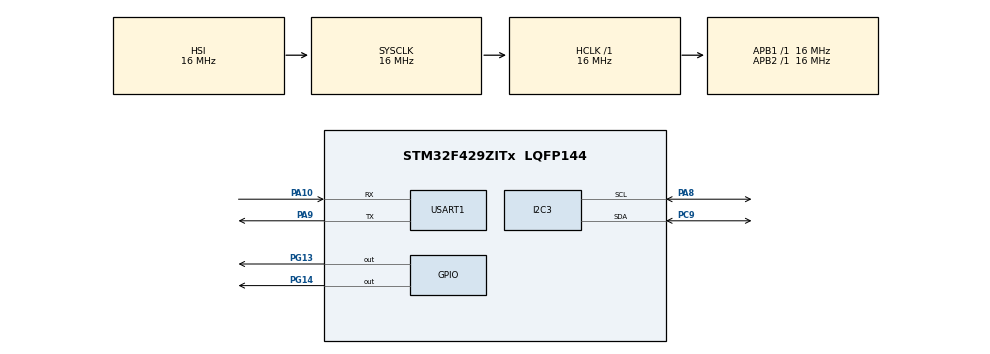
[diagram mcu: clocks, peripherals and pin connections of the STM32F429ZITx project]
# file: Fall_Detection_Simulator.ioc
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FREERTOS.Tasks01=defaultTask,0,128,StartDefaultTask,Default,NULL,Dynamic,NULL,NULL
FREERTOS.Timers01=myTimer01,Callback01,osTimerPeriodic,Default,NULL,Dynamic,NULL
FREERTOS.configUSE_NEWLIB_REENTRANT=1
FREERTOS.configUSE_TIMERS=1
Mcu.Family=STM32F4
Mcu.Name=STM32F429ZITx
Mcu.Package=LQFP144
NVIC.PriorityGroup=NVIC_PRIORITYGROUP_4
NVIC.USART1_IRQn=true\:5\:0\:false\:false\:true\:true\:true\:true\:true
PA10.Mode=Asynchronous
PA10.Signal=USART1_RX
PA8.Mode=I2C
PA8.Signal=I2C3_SCL
PA9.Mode=Asynchronous
PA9.Signal=USART1_TX
PC9.Mode=I2C
PC9.Signal=I2C3_SDA
PG13.Signal=GPIO_Output
PG14.Signal=GPIO_Output
ProjectManager.HeapSize=0x200
ProjectManager.StackSize=0x400
ProjectManager.TargetToolchain=STM32CubeIDE
RCC.AHBFreq_Value=16000000
RCC.APB1Freq_Value=16000000
RCC.APB2Freq_Value=16000000
RCC.CortexFreq_Value=16000000
RCC.HSE_VALUE=25000000
RCC.HSI_VALUE=16000000
RCC.LSE_VALUE=32768
RCC.SYSCLKFreq_VALUE=16000000
RCC.VCOOutputFreq_Value=192000000
USART1.VirtualMode=VM_ASYNC
VP_FREERTOS_VS_CMSIS_V1.Mode=CMSIS_V1
board=custom

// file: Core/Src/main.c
/* USER CODE BEGIN Header */
/**
  ******************************************************************************
  * @file           : main.c
  * @brief          : Main program body
  ******************************************************************************
  * @attention
  *
  * Copyright (c) 2026 STMicroelectronics.
  * All rights reserved.
  *
  * This software is licensed under terms that can be found in the LICENSE file
  * in the root directory of this software component.
  * If no LICENSE file comes with this software, it is provided AS-IS.
  *
  ******************************************************************************
  */
/* USER CODE END Header */
#include "main.h"
#include "cmsis_os.h"

/* USER CODE BEGIN Includes */
#include <stdio.h>
#include <string.h>
#include <math.h>
/* USER CODE END Includes */

/* USER CODE BEGIN PM */
#define ACCEL_SCALE 16384.0  // Correct for MPU6050 +/- 2g range
#define THRESHOLD   1.2      // 2.5g (standard impact threshold)
#define TILT_ANGLE  40 // Original 60
/* USER CODE END PM */

I2C_HandleTypeDef hi2c3;

UART_HandleTypeDef huart1;

osThreadId defaultTaskHandle;
osTimerId myTimer01Handle;

void SystemClock_Config(void);
static void MX_GPIO_Init(void);
static void MX_I2C3_Init(void);
static void MX_USART1_UART_Init(void);
void StartDefaultTask(void const * argument);
void Callback01(void const * argument);

/* USER CODE BEGIN PFP */
/*================ TASK PROTOTYPES ==================*/
void Task1(void *arg);
void Task2(void *arg);
void Task3(void *arg);
void Timer_Task1(TimerHandle_t xTimer);

/*================ MPU PROTOTYPES ==================*/
void MPU6050_Init(void);
void MPU6050_Read(void);
#define MPU6050_ADDR (0x68 << 1)
uint8_t data[14];
int16_t g_Ax, g_Ay, g_Az,Gx,Gy,Gz;
char uart_buf[100];

/* =============== PRINTF ============================*/
//To use printf()
int _write(int file, char *ptr, int len) {
	HAL_UART_Transmit(&huart1, (uint8_t*) ptr, (uint16_t) len, HAL_MAX_DELAY);
	return len;
}

/* =============== HANDLES ============================*/
TimerHandle_t TimerHandle1;
TaskHandle_t Task1_Handle, Task2_Handle, Task3_Handle;
QueueHandle_t alertQueue;
/* USER CODE END PFP */

/* USER CODE BEGIN 0 */
void MPU6050_Init(void)
{
  uint8_t check;
  uint8_t data;

  // Check WHO_AM_I
  HAL_I2C_Mem_Read(&hi2c3, MPU6050_ADDR, 0x75, 1, &check, 1, HAL_MAX_DELAY);

  // Wake up MPU6050
  data = 0;
  HAL_I2C_Mem_Write(&hi2c3, MPU6050_ADDR, 0x6B, 1, &data, 1, HAL_MAX_DELAY);

  // Set accel ±2g
  data = 0x00;
  HAL_I2C_Mem_Write(&hi2c3, MPU6050_ADDR, 0x1C, 1, &data, 1, HAL_MAX_DELAY);

  // Set gyro ±250 dps
  data = 0x00;
  HAL_I2C_Mem_Write(&hi2c3, MPU6050_ADDR, 0x1B, 1, &data, 1, HAL_MAX_DELAY);
}
void MPU6050_Read(void)
{
  HAL_I2C_Mem_Read(&hi2c3, MPU6050_ADDR, 0x3B, 1, data, 14, HAL_MAX_DELAY);

  g_Ax = (int16_t)(data[0] << 8 | data[1]);
  g_Ay = (int16_t)(data[2] << 8 | data[3]);
  g_Az = (int16_t)(data[4] << 8 | data[5]);

  Gx = (int16_t)(data[8] << 8 | data[9]);
  Gy = (int16_t)(data[10] << 8 | data[11]);
  Gz = (int16_t)(data[12] << 8 | data[13]);
}
/* USER CODE END 0 */

int main(void)
{

  /* MCU Configuration--------------------------------------------------------*/

  /* Reset of all peripherals, Initializes the Flash interface and the Systick. */
  HAL_Init();

  /* Configure the system clock */
  SystemClock_Config();

  /* Initialize all configured peripherals */
  MX_GPIO_Init();
  MX_I2C3_Init();
  MX_USART1_UART_Init();
  /* USER CODE BEGIN 2 */
  MPU6050_Init();

  /*================= SOFTWARE TMR CREATIONS ====================*/
  TimerHandle1 = xTimerCreate("Timerpc", pdMS_TO_TICKS(20), pdTRUE, 0,
  			Timer_Task1);
  /*================= TASK CREATIONS ====================*/
  alertQueue = xQueueCreate(5, sizeof(uint8_t));
  xTaskCreate(Task1, "Task1_pc", 128, NULL, 1, &Task1_Handle);
  xTaskCreate(Task2, "Task2_pc", 128, NULL, 2, &Task2_Handle);
  xTaskCreate(Task3, "Task3_pc", 128, NULL, 2, &Task3_Handle);

	//Start the software timer
	xTimerStart(TimerHandle1, 0);

	//Start the scheduler
	vTaskStartScheduler();

  /* USER CODE END 2 */

  /* Create the timer(s) */
  /* definition and creation of myTimer01 */
  osTimerDef(myTimer01, Callback01);
  myTimer01Handle = osTimerCreate(osTimer(myTimer01), osTimerPeriodic, NULL);

  /* Create the thread(s) */
  /* definition and creation of defaultTask */
  osThreadDef(defaultTask, StartDefaultTask, osPriorityNormal, 0, 128);
  defaultTaskHandle = osThreadCreate(osThread(defaultTask), NULL);

  /* Start scheduler */
  osKernelStart();

  /* We should never get here as control is now taken by the scheduler */

  /* Infinite loop */
  while (1)
  {

  }
}

void SystemClock_Config(void)
{
  RCC_OscInitTypeDef RCC_OscInitStruct = {0};
  RCC_ClkInitTypeDef RCC_ClkInitStruct = {0};

  /** Configure the main internal regulator output voltage
  */
  __HAL_RCC_PWR_CLK_ENABLE();
  __HAL_PWR_VOLTAGESCALING_CONFIG(PWR_REGULATOR_VOLTAGE_SCALE3);

  /** Initializes the RCC Oscillators according to the specified parameters
  * in the RCC_OscInitTypeDef structure.
  */
  RCC_OscInitStruct.OscillatorType = RCC_OSCILLATORTYPE_HSI;
  RCC_OscInitStruct.HSIState = RCC_HSI_ON;
  RCC_OscInitStruct.HSICalibrationValue = RCC_HSICALIBRATION_DEFAULT;
  RCC_OscInitStruct.PLL.PLLState = RCC_PLL_NONE;
  if (HAL_RCC_OscConfig(&RCC_OscInitStruct) != HAL_OK)
  {
    Error_Handler();
  }

  /** Initializes the CPU, AHB and APB buses clocks
  */
  RCC_ClkInitStruct.ClockType = RCC_CLOCKTYPE_HCLK|RCC_CLOCKTYPE_SYSCLK
                              |RCC_CLOCKTYPE_PCLK1|RCC_CLOCKTYPE_PCLK2;
  RCC_ClkInitStruct.SYSCLKSource = RCC_SYSCLKSOURCE_HSI;
  RCC_ClkInitStruct.AHBCLKDivider = RCC_SYSCLK_DIV1;
  RCC_ClkInitStruct.APB1CLKDivider = RCC_HCLK_DIV1;
  RCC_ClkInitStruct.APB2CLKDivider = RCC_HCLK_DIV1;

  if (HAL_RCC_ClockConfig(&RCC_ClkInitStruct, FLASH_LATENCY_0) != HAL_OK)
  {
    Error_Handler();
  }
}

static void MX_I2C3_Init(void)
{

  hi2c3.Instance = I2C3;
  hi2c3.Init.ClockSpeed = 100000;
  hi2c3.Init.DutyCycle = I2C_DUTYCYCLE_2;
  hi2c3.Init.OwnAddress1 = 0;
  hi2c3.Init.AddressingMode = I2C_ADDRESSINGMODE_7BIT;
  hi2c3.Init.DualAddressMode = I2C_DUALADDRESS_DISABLE;
  hi2c3.Init.OwnAddress2 = 0;
  hi2c3.Init.GeneralCallMode = I2C_GENERALCALL_DISABLE;
  hi2c3.Init.NoStretchMode = I2C_NOSTRETCH_DISABLE;
  if (HAL_I2C_Init(&hi2c3) != HAL_OK)
  {
    Error_Handler();
  }

  /** Configure Analogue filter
  */
  if (HAL_I2CEx_ConfigAnalogFilter(&hi2c3, I2C_ANALOGFILTER_ENABLE) != HAL_OK)
  {
    Error_Handler();
  }

  /** Configure Digital filter
  */
  if (HAL_I2CEx_ConfigDigitalFilter(&hi2c3, 0) != HAL_OK)
  {
    Error_Handler();
  }

}

static void MX_USART1_UART_Init(void)
{

  huart1.Instance = USART1;
  huart1.Init.BaudRate = 115200;
  huart1.Init.WordLength = UART_WORDLENGTH_8B;
  huart1.Init.StopBits = UART_STOPBITS_1;
  huart1.Init.Parity = UART_PARITY_NONE;
  huart1.Init.Mode = UART_MODE_TX_RX;
  huart1.Init.HwFlowCtl = UART_HWCONTROL_NONE;
  huart1.Init.OverSampling = UART_OVERSAMPLING_16;
  if (HAL_UART_Init(&huart1) != HAL_OK)
  {
    Error_Handler();
  }

}

static void MX_GPIO_Init(void)
{
  GPIO_InitTypeDef GPIO_InitStruct = {0};

  /* GPIO Ports Clock Enable */
  __HAL_RCC_GPIOC_CLK_ENABLE();
  __HAL_RCC_GPIOA_CLK_ENABLE();
  __HAL_RCC_GPIOG_CLK_ENABLE();

  /*Configure GPIO pin Output Level */
  HAL_GPIO_WritePin(GPIOG, GPIO_PIN_13|GPIO_PIN_14, GPIO_PIN_RESET);

  /*Configure GPIO pins : PG13 PG14 */
  GPIO_InitStruct.Pin = GPIO_PIN_13|GPIO_PIN_14;
  GPIO_InitStruct.Mode = GPIO_MODE_OUTPUT_PP;
  GPIO_InitStruct.Pull = GPIO_NOPULL;
  GPIO_InitStruct.Speed = GPIO_SPEED_FREQ_LOW;
  HAL_GPIO_Init(GPIOG, &GPIO_InitStruct);

}

/* USER CODE BEGIN 4 */
void Timer_Task1(TimerHandle_t xTimer){
	MPU6050_Read();
}
void Task1(void *arg) {
	for (;;) {
		sprintf(uart_buf, "Ax=%d Ay=%d Az=%d | Gx=%d Gy=%d Gz=%d\r\n", g_Ax, g_Ay, g_Az, Gx, Gy, Gz);

		printf("%s\r\n",uart_buf);

		vTaskDelay(pdMS_TO_TICKS(5000));

	}
}
void Task2(void *arg) {
	for (;;) {
        // 1. Calculate Resultant Acceleration Magnitude
		float aTotal = sqrtf((float)g_Ax * g_Ax + (float)g_Ay * g_Ay + (float)g_Az * g_Az) / ACCEL_SCALE;

		// 2. Only check for Tilt IF an Impact (Threshold) is detected first
		if (aTotal > THRESHOLD) {

			// Add a very tiny delay to let the sensor stabilize after impact
			vTaskDelay(pdMS_TO_TICKS(10));

			float pitch = atan2f(g_Ax, sqrtf(g_Ay * g_Ay + g_Az * g_Az)) * 180.0f / M_PI;
			float roll  = atan2f(g_Ay, sqrtf(g_Ax * g_Ax + g_Az * g_Az)) * 180.0f / M_PI;

			// 3. Confirm the device is actually tilted AFTER the impact
			if (fabs(pitch) > TILT_ANGLE || fabs(roll) > TILT_ANGLE) {
		//		uint8_t alert = 1;
				HAL_GPIO_TogglePin(GPIOG, GPIO_PIN_14);

				xTaskNotifyGive(Task3_Handle); // Notify UART task

			//	xQueueSend(alertQueue, &alert, 0);
			}
		}
		vTaskDelay(pdMS_TO_TICKS(50));

	}
}
void Task3(void *arg) {
	for (;;) {
		//uint8_t alert=0;

		ulTaskNotifyTake(pdTRUE, portMAX_DELAY);
		//printf("NOTIFIED\r\n");
	    //xQueueReceive(alertQueue, &alert,portMAX_DELAY);
	    //printf("received\r\n");

	 //   if(alert==1){
	    	printf("FALL DETECTED\r\n");
	    	HAL_GPIO_TogglePin(GPIOG, GPIO_PIN_13);
	   // }

	}
}
/* USER CODE END 4 */

void StartDefaultTask(void const * argument)
{
  for(;;)
  {
    osDelay(1);
  }
}

/* Callback01 function */
void Callback01(void const * argument)
{
}

void Error_Handler(void)
{
  __disable_irq();
  while (1)
  {
  }
}
